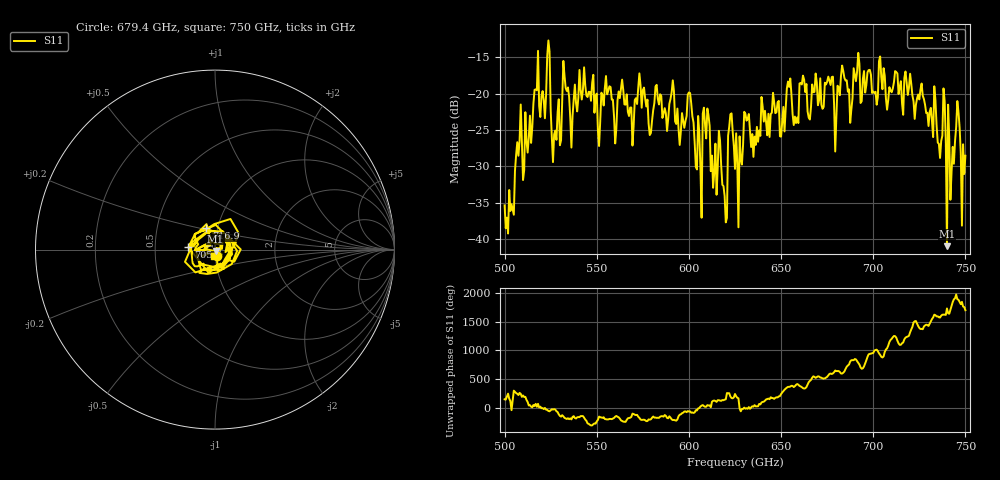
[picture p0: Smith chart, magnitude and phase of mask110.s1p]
!Created with skrf (http://scikit-rf.org).
# GHz S MA R 50.0
!freq magS11 angS11
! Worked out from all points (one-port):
!   401 points, 500 GHz to 750 GHz, reference 50 ohm
!   lowest |S11| = -41.0 dB at 740 GHz (marker M1), VSWR 1.02, Z = 50.3 - j0.838 ohm
!   |S11| at or under -10 dB: start of sweep to end of sweep
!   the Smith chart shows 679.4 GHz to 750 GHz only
!   S11 on the Smith chart (normalised r, x): 679.4 GHz: 1.02, -0.08; 705.6 GHz: 0.74, +0.02; 716.9 GHz: 0.88, +0.21; 750 GHz: 0.98, -0.07
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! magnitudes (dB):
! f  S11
! 500 GHz  -35.4
! 516.9 GHz  -19.4
! 520.6 GHz  -19.6
! 523.8 GHz  -12.7
! 526.9 GHz  -25.6
! 531.2 GHz  -21.1
! 562.5 GHz  -20.6
! 579.4 GHz  -25.4
! 590.6 GHz  -19.8
! 593.8 GHz  -22.0
! 600.6 GHz  -19.9
! 605.6 GHz  -25.4
! 609.4 GHz  -26.1
! 619.4 GHz  -34.1
! 622.5 GHz  -22.8
! 625 GHz  -30.3
! 656.2 GHz  -22.8
! 679.4 GHz  -28.0
! 683.8 GHz  -16.9
! 687.5 GHz  -24.0
! 691.2 GHz  -16.9
! 705.6 GHz  -16.5
! 716.9 GHz  -17.8
! 718.8 GHz  -20.2
! 740 GHz  -41.0
! 743.1 GHz  -27.3
! 745.6 GHz  -21.0
! 750 GHz  -28.5
